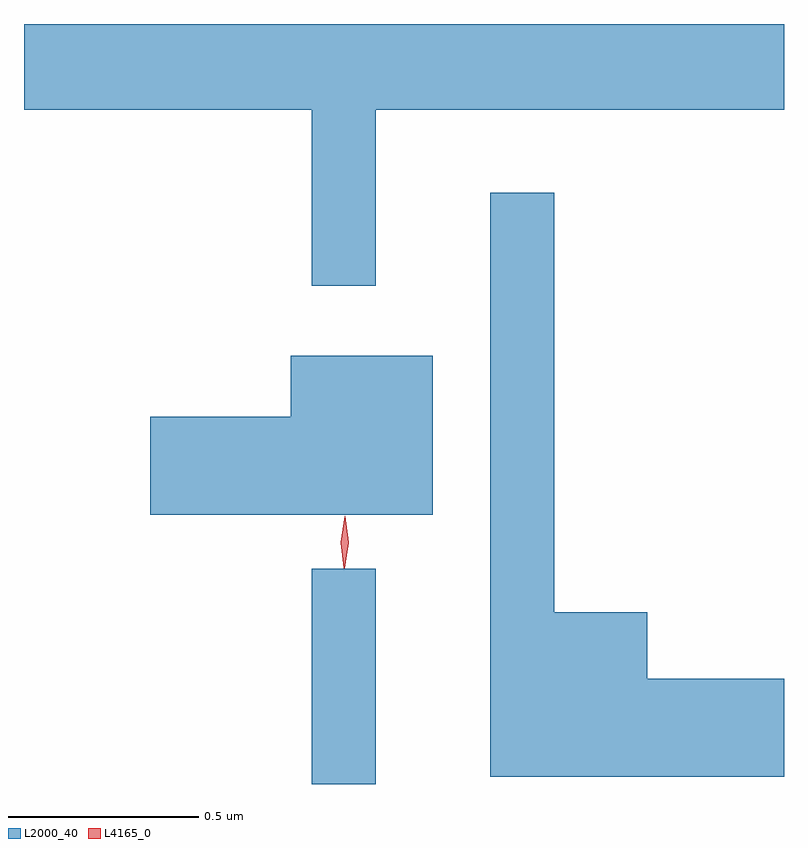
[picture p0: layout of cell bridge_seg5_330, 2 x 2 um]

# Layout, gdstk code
import gdstk
lib = gdstk.Library(unit=1e-6, precision=1e-09)
def R(c, l, rs):  # rectangles x0, y0, x1, y1
    for r in rs: c.add(gdstk.rectangle(r[:2], r[2:], *l))
def P(c, l, *ps):  # polygons
    for p in ps: c.add(gdstk.Polygon(p, *l))
L2000_40 = (2000, 40)
L4165_0 = (4165, 0)

bridge_seg5_330 = lib.new_cell('bridge_seg5_330')
R(bridge_seg5_330, L2000_40, [(671.191,1510.522,671.359,1511.088)])
P(bridge_seg5_330, L2000_40, [(671.359,1512.296),(672.434,1512.296),(672.434,1512.522),(670.434,1512.522),(670.434,1512.296),(671.191,1512.296),(671.191,1511.833),(671.359,1511.833)],
  [(672.434,1510.799),(672.074,1510.799),(672.074,1510.974),(671.829,1510.974),(671.829,1512.078),(671.661,1512.078),(671.661,1510.541),(672.434,1510.541)],
  [(671.509,1511.649),(671.136,1511.649),(671.136,1511.489),(670.766,1511.489),(670.766,1511.231),(671.509,1511.231)])
P(bridge_seg5_330, L4165_0, [(671.276,1511.093),(671.268,1511.156),(671.278,1511.219),(671.279,1511.22),(671.279,1511.219),(671.288,1511.156),(671.278,1511.093),(671.277,1511.093)],
  [(671.276,1511.09),(671.268,1511.158),(671.278,1511.226),(671.278,1511.226),(671.279,1511.226),(671.288,1511.158),(671.278,1511.09),(671.277,1511.09)])

lib.write_gds('bridge_seg5_330.gds')
